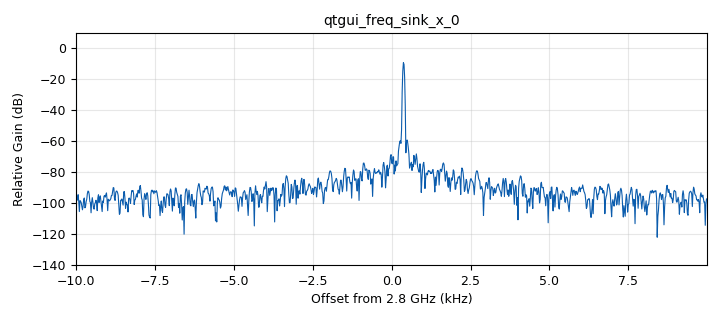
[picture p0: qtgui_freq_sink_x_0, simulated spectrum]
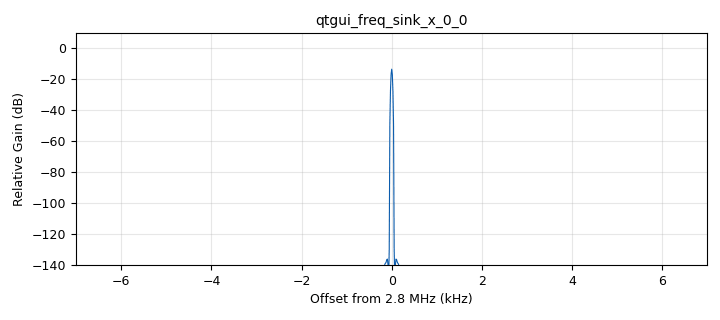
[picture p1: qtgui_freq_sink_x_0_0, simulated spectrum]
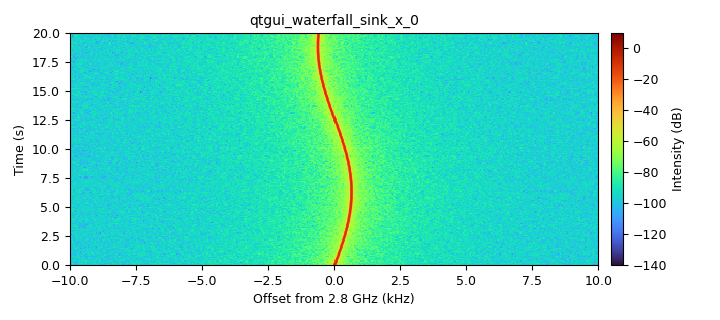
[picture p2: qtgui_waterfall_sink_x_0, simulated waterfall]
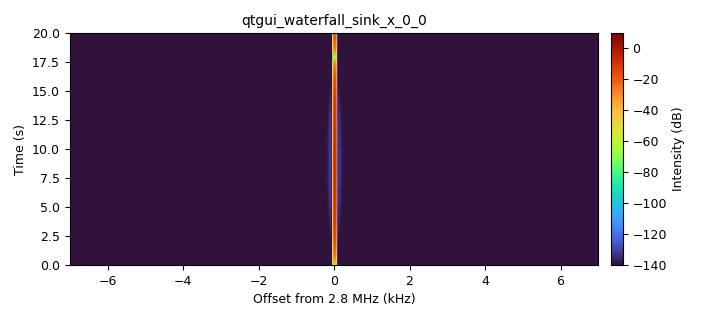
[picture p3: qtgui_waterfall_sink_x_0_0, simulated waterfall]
options:
  parameters:
    author: simon
    generate_options: qt_gui
    id: test
    output_language: python
    title: Not titled yet
  states: {}

blocks:
- name: center_freq
  id: variable
  parameters:
    value: 2.8e9
  states: {}
- name: f_MOD
  id: variable
  parameters:
    value: 2e3
  states: {}
- name: samp_rate
  id: variable
  parameters:
    value: 1e9
  states: {}
- name: analog_frequency_modulator_fc_0
  id: analog_frequency_modulator_fc
  parameters:
    sensitivity: '2e-1'
  states: {}
- name: analog_noise_source_x_0
  id: analog_noise_source_x
  parameters:
    amp: '0.01'
    noise_type: analog.GR_GAUSSIAN
    seed: '0'
    type: float
  states: {}
- name: analog_sig_source_x_0
  id: analog_sig_source_x
  parameters:
    amp: '1'
    freq: f_MOD
    offset: '0'
    phase: '0'
    samp_rate: samp_rate
    type: float
    waveform: analog.GR_SIN_WAVE
  states: {}
- name: blocks_add_xx_0
  id: blocks_add_xx
  parameters:
    type: float
  states: {}
- name: blocks_throttle2_0
  id: blocks_throttle2
  parameters:
    maximum: '1'
    samples_per_second: samp_rate
    type: complex
  states: {state: bypassed}
- name: qtgui_freq_sink_x_0
  id: qtgui_freq_sink_x
  parameters:
    bw: 20e3
    fc: 2.8e9
    fftsize: '1024'
    legend: 'False'
    type: complex
  states: {}
- name: qtgui_freq_sink_x_0_0
  id: qtgui_freq_sink_x
  parameters:
    bw: 14e3
    ctrlpanel: 'True'
    fc: 2.8e6
    fftsize: '1024'
    legend: 'False'
    type: float
  states: {}
- name: qtgui_waterfall_sink_x_0
  id: qtgui_waterfall_sink_x
  parameters:
    bw: 20e3
    fc: 2.8e9
    fftsize: '1024'
    type: complex
  states: {}
- name: qtgui_waterfall_sink_x_0_0
  id: qtgui_waterfall_sink_x
  parameters:
    bw: 14e3
    fc: 2.8e6
    fftsize: '1024'
    type: float
  states: {}

connections:
- [analog_frequency_modulator_fc_0, '0', blocks_throttle2_0, '0']
- [analog_frequency_modulator_fc_0, '0', qtgui_waterfall_sink_x_0, '0']
- [analog_noise_source_x_0, '0', blocks_add_xx_0, '1']
- [analog_sig_source_x_0, '0', blocks_add_xx_0, '0']
- [analog_sig_source_x_0, '0', qtgui_freq_sink_x_0_0, '0']
- [analog_sig_source_x_0, '0', qtgui_waterfall_sink_x_0_0, '0']
- [blocks_add_xx_0, '0', analog_frequency_modulator_fc_0, '0']
- [blocks_throttle2_0, '0', qtgui_freq_sink_x_0, '0']

metadata:
  file_format: 1
  grc_version: 3.10.11.0
